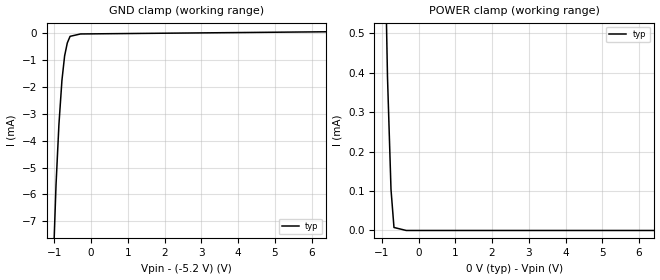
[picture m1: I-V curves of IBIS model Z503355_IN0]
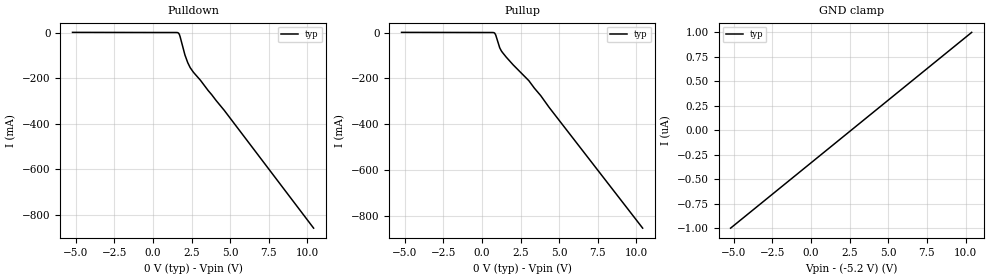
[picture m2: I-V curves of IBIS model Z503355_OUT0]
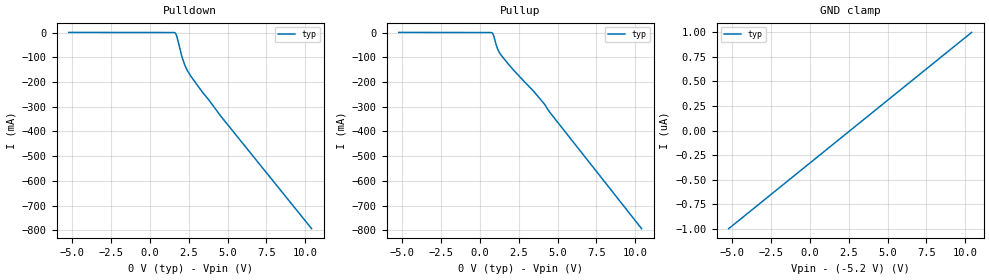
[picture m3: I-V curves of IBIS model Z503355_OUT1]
| YOU ARE ONLY AUTHORIZED TO USE THIS SOFTWARE
| ACCORDING TO LICENSOR'S LICENSE RESTRICTIONS.
[IBIS Ver] 3.1
[File Name] mc100e104fn.ibs
[File Rev] 2.0
[Source] Measured and created by ICX Technology
[Date] Friday 7/14/00 9:07:46 AM
[Copyright]
| (C) COPYRIGHT 1993-2000
| MENTOR GRAPHICS CORPORATION
| ICX STANDARD LIBRARY, ICX PROJECT MODELING,
| ICX CUSTOM MODELING, ICX VENDOR MODEL
| ALL RIGHTS RESERVED.
| THE FOLLOWING ARE TRADEMARKS OR SERVICE MARKS OF
| MENTOR GRAPHICS CORPORATION:ICX (R), ICX STANDARD
| LIBRARY(R), ICX PROJECT MODELING(R), ICX CUSTOM
| MODELING(R), qualityIBIS(TM), MODELVIEWER(TM),
| AND MODELEDITOR(TM)
| ALL COPIES OF SOFTWARE, INCLUDING BUT NOT LIMITED TO
| ANY MODIFICATIONS, ENHANCEMENTS OR DERIVATIVE WORKS,
| MUST CONTAIN ALL MENTOR GRAPHICS CORPORATION'S
| NOTICES AND LEGENDS, INCLUDING THOSE EMBEDDED IN
| SOFTWARE AND THOSE AFFIXED TO SOFTWARE MEDIUM
| AND CONTAINER, AS RECEIVED FROM MENTOR GRAPHICS
| CORPORATION.
|  ZAP Model Builder 2.7
[Component] MC100E104FN
[Manufacturer] OnSemiconductor
[Package]
| variable   typ   min   max
R_pkg  .083ohms NA NA
L_pkg  4.299nH NA NA
C_pkg  1.045pF NA NA
[Pin] signal_name  model_name  R_pin  L_pin C_pin
1 VEE POWER .08 3.94n .925p
2 D1A Z503355_IN0 .082 4.14n .995p
3 D1B Z503355_IN0 .084 4.354n 1.065p
4 D0A Z503355_IN0 .086 4.583n 1.135p
5 D0B Z503355_IN0 .086 4.583n 1.135p
6 VCCO POWER .084 4.354n 1.065p
7 Q0 Z503355_OUT0 .082 4.14n .995p
8 _Q0 Z503355_OUT1 .08 3.94n .925p
9 Q1 Z503355_OUT0 .082 4.14n .995p
10 _Q1 Z503355_OUT1 .084 4.354n 1.065p
11 VCCO POWER .086 4.583n 1.135p
12 Q2 Z503355_OUT0 .086 4.583n 1.135p
13 _Q2 Z503355_OUT1 .084 4.354n 1.065p
14 Q3 Z503355_OUT0 .082 4.14n .995p
15 _Q3 Z503355_OUT1 .08 3.94n .925p
16 VCC POWER .082 4.14n .995p
17 Q4 Z503355_OUT0 .084 4.354n 1.065p
18 _Q4 Z503355_OUT1 .086 4.583n 1.135p
19 _F Z503355_OUT2 .086 4.583n 1.135p
20 F Z503355_OUT3 .084 4.354n 1.065p
21 VCCO POWER .082 4.14n .995p
22 NC NC .08 3.94n .925p
23 D4A Z503355_IN0 .082 4.14n .995p
24 D4B Z503355_IN0 .084 4.354n 1.065p
25 D3A Z503355_IN0 .086 4.583n 1.135p
26 D3B Z503355_IN0 .086 4.583n 1.135p
27 D2A Z503355_IN0 .084 4.354n 1.065p
28 D2B Z503355_IN0 .082 4.14n .995p
| Models and submodels in the file (5): Z503355_IN0 (Input_ECL), Z503355_OUT0 (Output_ECL), Z503355_OUT1 (Output_ECL), Z503355_OUT2 (Output_ECL), Z503355_OUT3 (Output_ECL)
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| (C) COPYRIGHT 1993-2000
| MENTOR GRAPHICS CORPORATION
| ICX STANDARD LIBRARY, ICX PROJECT MODELING,
| ICX CUSTOM MODELING, ICX VENDOR MODEL
| ALL RIGHTS RESERVED.
| THE FOLLOWING ARE TRADEMARKS OR SERVICE MARKS OF
| MENTOR GRAPHICS CORPORATION:ICX (R), ICX STANDARD
| LIBRARY(R), ICX PROJECT MODELING(R), ICX CUSTOM
| MODELING(R), qualityIBIS(TM), MODELVIEWER(TM),
| AND MODELEDITOR(TM)
| ALL COPIES OF SOFTWARE, INCLUDING BUT NOT LIMITED TO
| ANY MODIFICATIONS, ENHANCEMENTS OR DERIVATIVE WORKS,
| MUST CONTAIN ALL MENTOR GRAPHICS CORPORATION'S
| NOTICES AND LEGENDS, INCLUDING THOSE EMBEDDED IN
| SOFTWARE AND THOSE AFFIXED TO SOFTWARE MEDIUM
| AND CONTAINER, AS RECEIVED FROM MENTOR GRAPHICS
| CORPORATION.
| Model Application Version 1.89 2/18/99.
[Model] Z503355_IN0
Model_type Input_ECL
Vinl = -1.475V
Vinh = -1.165V
C_comp 4.000pF NA NA
| variable typ   min   max
[Voltage Range] -5.200V NA NA
[GND Clamp Reference] -5.200V NA NA
[POWER Clamp Reference] 0.000V NA NA
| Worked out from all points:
|   GND clamp passes 1 mA (typ) near -0.73 V on its own axis
[GND Clamp]
-5.2V     -249.3mA   NA         NA
-1.094V   -11.27mA   NA         NA
-952mV    -5.655mA   NA         NA
-873mV    -3.398mA   NA         NA
-791mV    -1.75mA    NA         NA
-718mV    -837.4uA   NA         NA
-645mV    -355.8uA   NA         NA
-569mV    -109.6uA   NA         NA
-284.5mV  -21.52uA   NA         NA
10.4V     108.4uA    NA         NA
[POWER Clamp]
-5.2V     58.33mA    NA         NA
-2.422V   11.9mA     NA         NA
-2.197V   8.67mA     NA         NA
-2.07V    7.23mA     NA         NA
-1.997V   6.647mA    NA         NA
-1.865V   5.847mA    NA         NA
-1.15V    1.901mA    NA         NA
-844.1mV  390uA      NA         NA
-748.3mV  103.8uA    NA         NA
-667.4mV  7.589uA    NA         NA
-333.7mV  0A         NA         NA
10.4V     0A         NA         NA
| (C) COPYRIGHT 1993-2000
| MENTOR GRAPHICS CORPORATION
| ICX STANDARD LIBRARY, ICX PROJECT MODELING,
| ICX CUSTOM MODELING, ICX VENDOR MODEL
| ALL RIGHTS RESERVED.
| THE FOLLOWING ARE TRADEMARKS OR SERVICE MARKS OF
| MENTOR GRAPHICS CORPORATION:ICX (R), ICX STANDARD
| LIBRARY(R), ICX PROJECT MODELING(R), ICX CUSTOM
| MODELING(R), qualityIBIS(TM), MODELVIEWER(TM),
| AND MODELEDITOR(TM)
| ALL COPIES OF SOFTWARE, INCLUDING BUT NOT LIMITED TO
| ANY MODIFICATIONS, ENHANCEMENTS OR DERIVATIVE WORKS,
| MUST CONTAIN ALL MENTOR GRAPHICS CORPORATION'S
| NOTICES AND LEGENDS, INCLUDING THOSE EMBEDDED IN
| SOFTWARE AND THOSE AFFIXED TO SOFTWARE MEDIUM
| AND CONTAINER, AS RECEIVED FROM MENTOR GRAPHICS
| CORPORATION.
| Model Application Version 1.89 2/18/99.
[Model] Z503355_OUT0
Model_type Output_ECL
Vref=-2.000V
Rref=50.00ohms
Cref=0.000F
Vmeas=-1.320V
C_comp 8.000pF NA NA
| variable typ   min   max
[Voltage Range] -5.200V NA NA
[POWER Clamp Reference] 0.000V NA NA
[Pullup Reference] 0.000V NA NA
[Pulldown Reference] 0.000V NA NA
[GND Clamp Reference] -5.200V NA NA
[GND Clamp]
-5.2V     -1uA       NA         NA
10.4V     1uA        NA         NA
[Pulldown]
-5.2V     569.4uA    NA         NA
1.66V     -2.616mA   NA         NA
1.764V    -18.82mA   NA         NA
2.073V    -98.09mA   NA         NA
2.256V    -132.1mA   NA         NA
2.412V    -153.7mA   NA         NA
4.609V    -340.2mA   NA         NA
10.4V     -856.9mA   NA         NA
[Pullup]
-5.2V     580.7uA    NA         NA
823.7mV   -2.509mA   NA         NA
893.5mV   -10.84mA   NA         NA
1.152V    -66.62mA   NA         NA
1.33V     -86.81mA   NA         NA
2.027V    -141.1mA   NA         NA
3.037V    -209.6mA   NA         NA
10.4V     -850.9mA   NA         NA
[POWER Clamp]
-5.2V     0A         NA         NA
10.4V     0A         NA         NA
[Ramp]
| variable typ min max
dV/dt_r 475.2m/286.7p NA NA
dV/dt_f 475.2m/289.5p NA NA
R_load = 500.0Ohms
| (C) COPYRIGHT 1993-2000
| MENTOR GRAPHICS CORPORATION
| ICX STANDARD LIBRARY, ICX PROJECT MODELING,
| ICX CUSTOM MODELING, ICX VENDOR MODEL
| ALL RIGHTS RESERVED.
| THE FOLLOWING ARE TRADEMARKS OR SERVICE MARKS OF
| MENTOR GRAPHICS CORPORATION:ICX (R), ICX STANDARD
| LIBRARY(R), ICX PROJECT MODELING(R), ICX CUSTOM
| MODELING(R), qualityIBIS(TM), MODELVIEWER(TM),
| AND MODELEDITOR(TM)
| ALL COPIES OF SOFTWARE, INCLUDING BUT NOT LIMITED TO
| ANY MODIFICATIONS, ENHANCEMENTS OR DERIVATIVE WORKS,
| MUST CONTAIN ALL MENTOR GRAPHICS CORPORATION'S
| NOTICES AND LEGENDS, INCLUDING THOSE EMBEDDED IN
| SOFTWARE AND THOSE AFFIXED TO SOFTWARE MEDIUM
| AND CONTAINER, AS RECEIVED FROM MENTOR GRAPHICS
| CORPORATION.
| Model Application Version 1.89 2/18/99.
[Model] Z503355_OUT1
Model_type Output_ECL
Vref=-2.000V
Rref=50.00ohms
Cref=0.000F
Vmeas=-1.320V
C_comp 8.000pF NA NA
| variable typ   min   max
[Voltage Range] -5.200V NA NA
[POWER Clamp Reference] 0.000V NA NA
[Pullup Reference] 0.000V NA NA
[Pulldown Reference] 0.000V NA NA
[GND Clamp Reference] -5.200V NA NA
[GND Clamp]
-5.2V     -1uA       NA         NA
10.4V     1uA        NA         NA
[Pulldown]
-5.2V     501.1uA    NA         NA
1.641V    -1.676mA   NA         NA
1.696V    -6.404mA   NA         NA
1.763V    -19.14mA   NA         NA
2.071V    -97.85mA   NA         NA
2.256V    -131.5mA   NA         NA
2.412V    -152.8mA   NA         NA
2.627V    -175mA     NA         NA
4.546V    -336.4mA   NA         NA
10.4V     -793.1mA   NA         NA
[Pullup]
-5.2V     611.5uA    NA         NA
664.1mV   37.72uA    NA         NA
823.6mV   -2.611mA   NA         NA
893.3mV   -11.09mA   NA         NA
1.068V    -51.05mA   NA         NA
1.152V    -66.68mA   NA         NA
1.383V    -91.56mA   NA         NA
2.231V    -155.5mA   NA         NA
3.426V    -234.5mA   NA         NA
4.199V    -292.2mA   NA         NA
4.502V    -322.2mA   NA         NA
10.4V     -792.8mA   NA         NA
[POWER Clamp]
-5.2V     0A         NA         NA
10.4V     0A         NA         NA
[Ramp]
| variable typ min max
dV/dt_r 476.8m/318.6p NA NA
dV/dt_f 476.8m/258.6p NA NA
R_load = 500.0Ohms
